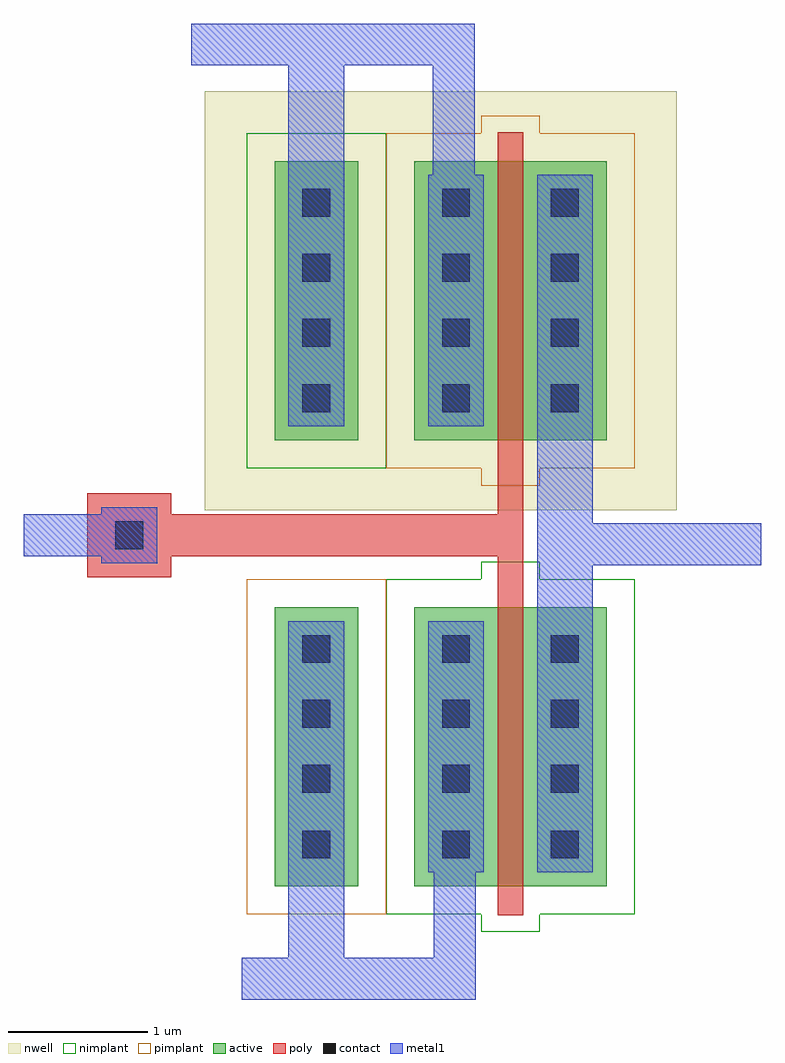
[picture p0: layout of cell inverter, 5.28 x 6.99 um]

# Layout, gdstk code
import gdstk
lib = gdstk.Library(unit=1e-6, precision=5e-10)
def R(c, l, rs):  # rectangles x0, y0, x1, y1
    for r in rs: c.add(gdstk.rectangle(r[:2], r[2:], *l))
def A(c, l, x, y, w, h, nx, ny, dx, dy):  # array of equal rectangles
    R(c, l, [(x+i*dx, y+j*dy, x+i*dx+w, y+j*dy+h) for i in range(nx) for j in range(ny)])
active = (1, 0)
nwell = (2, 0)
poly = (3, 0)
nimplant = (4, 0)
pimplant = (5, 0)
contact = (6, 0)
metal1 = (7, 0)

pmos_cdns_691387189180 = lib.new_cell('pmos_CDNS_691387189180')
R(pmos_cdns_691387189180, active, [(-1.6,0,-1,2), (-0.6,0,0,2), (0,0,0.18,2), (0.18,0,0.78,2)])
R(pmos_cdns_691387189180, nwell, [(-2.1,-0.5,1.28,2.5)])
R(pmos_cdns_691387189180, poly, [(0,-0.205,0.18,-0.2), (0,-0.2,0.18,0), (0,0,0.18,2), (0,2,0.18,2.2), (0,2.2,0.18,2.205)])
R(pmos_cdns_691387189180, nimplant, [(-1.8,-0.2,-0.8,2.2)])
R(pmos_cdns_691387189180, pimplant, [(-0.12,-0.325,0.3,-0.2), (-0.8,-0.2,0.98,2.2), (-0.12,2.2,0.3,2.325)])
A(pmos_cdns_691387189180, contact, -1.4, 0.67, 0.2, 0.2, 1, 3, 0, 0.465)
A(pmos_cdns_691387189180, contact, -0.4, 0.67, 0.2, 0.2, 1, 3, 0, 0.465)
A(pmos_cdns_691387189180, contact, 0.38, 0.67, 0.2, 0.2, 1, 3, 0, 0.465)
R(pmos_cdns_691387189180, contact, [(-1.4,0.2,-1.2,0.4), (-0.4,0.2,-0.2,0.4), (0.38,0.2,0.58,0.4)])
R(pmos_cdns_691387189180, metal1, [(-1.5,0.1,-1.1,1.9), (-0.5,0.1,-0.1,1.9), (0.28,0.1,0.68,1.9)])

nmos_cdns_691387189181 = lib.new_cell('nmos_CDNS_691387189181')
R(nmos_cdns_691387189181, active, [(-1.6,0,-1,2), (-0.6,0,0,2), (0,0,0.18,2), (0.18,0,0.78,2)])
R(nmos_cdns_691387189181, poly, [(0,-0.205,0.18,-0.2), (0,-0.2,0.18,0), (0,0,0.18,2), (0,2,0.18,2.2), (0,2.2,0.18,2.205)])
R(nmos_cdns_691387189181, nimplant, [(-0.12,-0.325,0.3,-0.2), (-0.8,-0.2,0.98,2.2), (-0.12,2.2,0.3,2.325)])
R(nmos_cdns_691387189181, pimplant, [(-1.8,-0.2,-0.8,2.2)])
A(nmos_cdns_691387189181, contact, -1.4, 0.67, 0.2, 0.2, 1, 3, 0, 0.465)
A(nmos_cdns_691387189181, contact, -0.4, 0.67, 0.2, 0.2, 1, 3, 0, 0.465)
A(nmos_cdns_691387189181, contact, 0.38, 0.67, 0.2, 0.2, 1, 3, 0, 0.465)
R(nmos_cdns_691387189181, contact, [(-1.4,0.2,-1.2,0.4), (-0.4,0.2,-0.2,0.4), (0.38,0.2,0.58,0.4)])
R(nmos_cdns_691387189181, metal1, [(-1.5,0.1,-1.1,1.9), (-0.5,0.1,-0.1,1.9), (0.28,0.1,0.68,1.9)])

m1_poly1_cdns_6913871891 = lib.new_cell('M1_POLY1_CDNS_691387189180')
R(m1_poly1_cdns_6913871891, poly, [(-0.3,-0.3,0.3,0.3)])
R(m1_poly1_cdns_6913871891, contact, [(-0.1,-0.1,0.1,0.1)])
R(m1_poly1_cdns_6913871891, metal1, [(-0.2,-0.2,0.2,0.2)])

inverter = lib.new_cell('inverter')
R(inverter, metal1, [(2.945,0,3.245,0.3), (4.99,3.11,5.29,3.41), (0.01,3.175,0.31,3.475), (2.94,6.69,3.24,6.99)])
inverter.add(gdstk.FlexPath([(0.765,3.325),(3.495,3.325)], 0.3, ends=(0, 0.09), simple_path=True, layer=3, datatype=0))  # poly
inverter.add(gdstk.FlexPath([(3.495,3.8),(3.495,3.015)], 0.18, ends="flush", simple_path=True, layer=3, datatype=0))  # poly
inverter.add(gdstk.FlexPath([(2.945,0.15),(2.105,0.15)], 0.3, ends=(0, 0.2), simple_path=True, layer=7, datatype=0))  # metal1
inverter.add(gdstk.FlexPath([(2.105,0.91),(2.105,0.15)], 0.4, ends=(0, 0.15), simple_path=True, layer=7, datatype=0))  # metal1
inverter.add(gdstk.FlexPath([(2.94,6.84),(2.105,6.84)], 0.3, ends=(0, 0.2), simple_path=True, layer=7, datatype=0))  # metal1
inverter.add(gdstk.FlexPath([(2.105,5.905),(2.105,6.84)], 0.4, ends=(0, 0.15), simple_path=True, layer=7, datatype=0))  # metal1
inverter.add(gdstk.FlexPath([(2.105,6.84),(1.21,6.84)], 0.3, ends=(0.2, 0), simple_path=True, layer=7, datatype=0))  # metal1
inverter.add(gdstk.FlexPath([(2.105,0.15),(1.57,0.15)], 0.3, ends=(0.2, 0), simple_path=True, layer=7, datatype=0))  # metal1
inverter.add(gdstk.FlexPath([(0.31,3.325),(0.765,3.325)], 0.3, ends="flush", simple_path=True, layer=7, datatype=0))  # metal1
inverter.add(gdstk.FlexPath([(3.09,6.69),(3.09,5.905)], 0.3, ends="flush", simple_path=True, layer=7, datatype=0))  # metal1
inverter.add(gdstk.FlexPath([(3.095,0.3),(3.095,0.91)], 0.3, ends="flush", simple_path=True, layer=7, datatype=0))  # metal1
inverter.add(gdstk.FlexPath([(3.885,4.105),(3.885,3.26)], 0.4, ends=(0, 0.15), simple_path=True, layer=7, datatype=0))  # metal1
inverter.add(gdstk.FlexPath([(5.14,3.26),(3.885,3.26)], 0.3, ends=(0, 0.2), simple_path=True, layer=7, datatype=0))  # metal1
inverter.add(gdstk.FlexPath([(3.885,3.26),(3.885,2.71)], 0.4, ends=(0.15, 0), simple_path=True, layer=7, datatype=0))  # metal1
inverter.add(gdstk.Reference(pmos_cdns_691387189180, (3.405,4.005)))
inverter.add(gdstk.Reference(nmos_cdns_691387189181, (3.405,0.81)))
inverter.add(gdstk.Reference(m1_poly1_cdns_6913871891, (0.765,3.325)))

lib.write_gds('inverter.gds')
